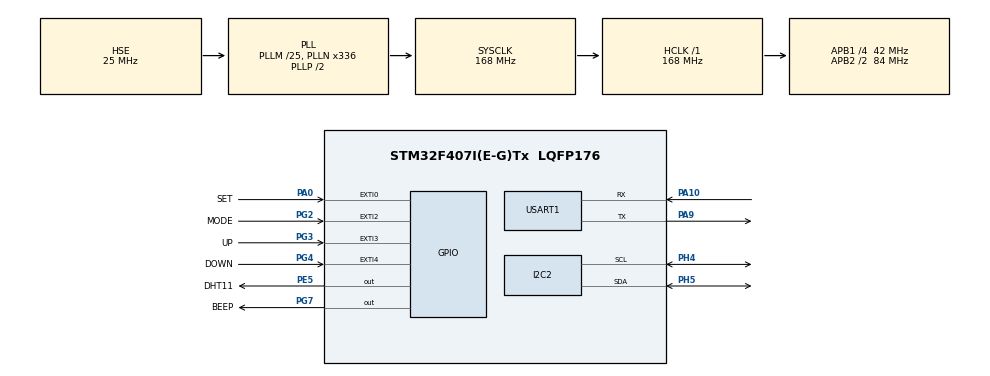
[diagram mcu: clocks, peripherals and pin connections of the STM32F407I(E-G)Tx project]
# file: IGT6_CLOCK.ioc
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I2C2.I2C_Mode=I2C_Standard
Mcu.Family=STM32F4
Mcu.Name=STM32F407I(E-G)Tx
Mcu.Package=LQFP176
NVIC.EXTI0_IRQn=true\:1\:0\:true\:false\:true\:true\:true\:true
NVIC.EXTI2_IRQn=true\:1\:0\:true\:false\:true\:true\:true\:true
NVIC.EXTI3_IRQn=true\:1\:0\:true\:false\:true\:true\:true\:true
NVIC.EXTI4_IRQn=true\:1\:0\:true\:false\:true\:true\:true\:true
NVIC.PriorityGroup=NVIC_PRIORITYGROUP_4
NVIC.RTC_Alarm_IRQn=true\:0\:0\:false\:false\:true\:true\:true\:true
NVIC.USART1_IRQn=true\:0\:0\:true\:false\:true\:true\:true\:true
PA0-WKUP.GPIO_Label=SET
PA0-WKUP.GPIO_ModeDefaultEXTI=GPIO_MODE_IT_RISING
PA0-WKUP.GPIO_PuPd=GPIO_PULLDOWN
PA0-WKUP.Signal=GPXTI0
PA10.Mode=Asynchronous
PA10.Signal=USART1_RX
PA13.Mode=Serial_Wire
PA13.Signal=SYS_JTMS-SWDIO
PA14.Mode=Serial_Wire
PA14.Signal=SYS_JTCK-SWCLK
PA9.Mode=Asynchronous
PA9.Signal=USART1_TX
PC14-OSC32_IN.Mode=LSE-External-Oscillator
PC14-OSC32_IN.Signal=RCC_OSC32_IN
PC15-OSC32_OUT.Mode=LSE-External-Oscillator
PC15-OSC32_OUT.Signal=RCC_OSC32_OUT
PE5.GPIO_Label=DHT11
PE5.Signal=GPIO_Output
PG2.GPIO_Label=MODE
PG2.GPIO_ModeDefaultEXTI=GPIO_MODE_IT_RISING
PG2.GPIO_PuPd=GPIO_PULLDOWN
PG2.Signal=GPXTI2
PG3.GPIO_Label=UP
PG3.GPIO_ModeDefaultEXTI=GPIO_MODE_IT_RISING
PG3.GPIO_PuPd=GPIO_PULLDOWN
PG3.Signal=GPXTI3
PG4.GPIO_Label=DOWN
PG4.GPIO_ModeDefaultEXTI=GPIO_MODE_IT_RISING
PG4.GPIO_PuPd=GPIO_PULLDOWN
PG4.Signal=GPXTI4
PG7.GPIO_Label=BEEP
PG7.PinState=GPIO_PIN_RESET
PG7.Signal=GPIO_Output
PH0-OSC_IN.Mode=HSE-External-Oscillator
PH0-OSC_IN.Signal=RCC_OSC_IN
PH1-OSC_OUT.Mode=HSE-External-Oscillator
PH1-OSC_OUT.Signal=RCC_OSC_OUT
PH4.Mode=I2C
PH4.Signal=I2C2_SCL
PH5.Mode=I2C
PH5.Signal=I2C2_SDA
ProjectManager.HeapSize=0x200
ProjectManager.StackSize=0x400
ProjectManager.TargetToolchain=MDK-ARM V5.32
RCC.48MHZClocksFreq_Value=84000000
RCC.AHBFreq_Value=168000000
RCC.APB1CLKDivider=RCC_HCLK_DIV4
RCC.APB1Freq_Value=42000000
RCC.APB1TimFreq_Value=84000000
RCC.APB2CLKDivider=RCC_HCLK_DIV2
RCC.APB2Freq_Value=84000000
RCC.APB2TimFreq_Value=168000000
RCC.CortexFreq_Value=168000000
RCC.HCLKFreq_Value=168000000
RCC.HSE_VALUE=25000000
RCC.HSI_VALUE=16000000
RCC.PLLM=25
RCC.PLLN=336
RCC.PLLSourceVirtual=RCC_PLLSOURCE_HSE
RCC.RCC_RTC_Clock_Source=RCC_RTCCLKSOURCE_LSE
RCC.RCC_RTC_Clock_SourceVirtual=RCC_RTCCLKSOURCE_LSE
RCC.SYSCLKFreq_VALUE=168000000
RCC.SYSCLKSource=RCC_SYSCLKSOURCE_PLLCLK
RCC.VCOOutputFreq_Value=336000000
RTC.Alarm=RTC_ALARM_A
RTC.AlarmMaskDateWeekDay=RTC_ALARMMASK_DATEWEEKDAY
TIM1.Prescaler=168-1
USART1.VirtualMode=VM_ASYNC
VP_RTC_VS_RTC_Activate.Mode=RTC_Enabled
VP_RTC_VS_RTC_Alarm_A_Intern.Mode=Alarm A
VP_RTC_VS_RTC_Calendar.Mode=RTC_Calendar
VP_TIM1_VS_ClockSourceINT.Mode=Internal
board=custom

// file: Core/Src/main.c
/* USER CODE BEGIN Header */
/**
  ******************************************************************************
  * @file           : main.c
  * @brief          : Main program body
  ******************************************************************************
  * @attention
  *
  * Copyright (c) 2024 STMicroelectronics.
  * All rights reserved.
  *
  * This software is licensed under terms that can be found in the LICENSE file
  * in the root directory of this software component.
  * If no LICENSE file comes with this software, it is provided AS-IS.
  *
  ******************************************************************************
  */
/* USER CODE END Header */
#include "main.h"
#include "i2c.h"
#include "rtc.h"
#include "tim.h"
#include "usart.h"
#include "gpio.h"

/* USER CODE BEGIN Includes */
#include "stdio.h"
#include "OLED.h"
/* USER CODE END Includes */

/* USER CODE BEGIN PTD */
RTC_TimeTypeDef Get_time;
RTC_DateTypeDef Get_date;
RTC_AlarmTypeDef Get_alarm;
/* USER CODE END PTD */

/* USER CODE BEGIN PD */
#define DHT11_HIGH     HAL_GPIO_WritePin(GPIOE, DHT11_Pin,	GPIO_PIN_SET) //输出高电平
#define DHT11_LOW      HAL_GPIO_WritePin(GPIOE, DHT11_Pin, GPIO_PIN_RESET)//输出低电平
#define DHT11_IO_IN      HAL_GPIO_ReadPin(GPIOE, DHT11_Pin)//读取IO口电平
/* USER CODE END PD */

/* USER CODE BEGIN PV */
uint8_t temp=0;
uint8_t humi=0;
/* USER CODE END PV */

void SystemClock_Config(void);
/* USER CODE BEGIN PFP */
void beep_start()
{
	HAL_GPIO_WritePin(GPIOG,GPIO_PIN_7,GPIO_PIN_SET);
}
void beep_stop()
{
	HAL_GPIO_WritePin(GPIOG,GPIO_PIN_7,GPIO_PIN_RESET);
}

void Calculate_week(int y,int m,int d)
{
	if(m==1||m==2)
	{
		m+=12;
		y--;
	}
	int week=(d+2*m+3*(m+1)/5+y+y/4-y/100+y/400)%7;
	switch(week)
	{
		case 0:
		{
			OLED_ShowString(0,4,(uint8_t*)"Monday   ",16);
			break;
		}
		case 1:
		{
			OLED_ShowString(0,4,(uint8_t*)"Tuesday  ",16);
			break;
		}
		case 2:
		{
			OLED_ShowString(0,4,(uint8_t*)"Wednesday",16);
			break;
		}
		case 3:
		{
			OLED_ShowString(0,4,(uint8_t*)"Thursday ",16);
			break;
		}
		case 4:
		{
			OLED_ShowString(0,4,(uint8_t*)"Friday   ",16);
			break;
		}
		case 5:
		{
			OLED_ShowString(0,4,(uint8_t*)"Saturday  ",16);
			break;
		}
		case 6:
		{
			OLED_ShowString(0,4,(uint8_t*)"Sunday   ",16);
			break;
		}
	}
}
void def_config()
{
	Get_alarm.AlarmTime.DayLightSaving = RTC_DAYLIGHTSAVING_NONE;
	Get_alarm.AlarmTime.StoreOperation = RTC_STOREOPERATION_RESET;
	Get_alarm.AlarmMask=RTC_ALARMMASK_DATEWEEKDAY;
	Get_alarm.AlarmSubSecondMask = RTC_ALARMSUBSECONDMASK_ALL;
	Get_alarm.Alarm = RTC_ALARM_A;
}
void Delay_us(int us)
{
	__HAL_TIM_SetCounter(&htim1,0);
	__HAL_TIM_ENABLE(&htim1);
	while(__HAL_TIM_GET_COUNTER(&htim1)<us);
	__HAL_TIM_DISABLE(&htim1);
}

void DHT11_OUT(void)
{
	GPIO_InitTypeDef  GPIO_InitStruct = {0};

	GPIO_InitStruct.Pin = GPIO_PIN_5;
	GPIO_InitStruct.Mode = GPIO_MODE_OUTPUT_PP;
	GPIO_InitStruct.Pull = GPIO_PULLUP;
	GPIO_InitStruct.Speed = GPIO_SPEED_FREQ_HIGH;
	HAL_GPIO_Init(GPIOE, &GPIO_InitStruct);
}

void DHT11_IN(void)
{
	GPIO_InitTypeDef  GPIO_InitStruct = {0};

	GPIO_InitStruct.Pin  = GPIO_PIN_5;
	GPIO_InitStruct.Mode = GPIO_MODE_INPUT;
	GPIO_InitStruct.Pull = GPIO_NOPULL;
	GPIO_InitStruct.Speed = GPIO_SPEED_FREQ_HIGH;
	HAL_GPIO_Init(GPIOE, &GPIO_InitStruct);
}
void DHT11_Strat(void)
{
	DHT11_OUT();   //设置为输出模式
	DHT11_LOW;     //主机拉低总线
	HAL_Delay(20); //延迟必须大于18ms ；
	DHT11_HIGH;    //主机拉高总线等待DHT11响应
	Delay_us(30);
}
uint8_t DHT11_Check(void)
{
	uint8_t retry = 0 ;
	DHT11_IN();
	//采用while循环的方式检测响应信号
	while(DHT11_IO_IN && retry <100) // DHT11会拉低 40us ~80us
	{
		retry++;
		Delay_us(1);//1us
	}
	if(retry>=100) //判断当DHT11延迟超过80us时return 1 ， 说明响应失败
	{return  1;}
	else retry =  0 ;

	while(!DHT11_IO_IN && retry<100)// // DHT11拉低之后会拉高 40us ~80us
	{
		retry++;
		Delay_us(1);//1us
	}

	if(retry>=100)
	{return 1;}
	return 0 ;
}
uint8_t DHT11_Read_Bit(void)
{
	uint8_t retry = 0 ;
	while(DHT11_IO_IN && retry <100)//同上采用while循环的方式去采集数据
	{
		retry++;
		Delay_us(1);
	}
	retry = 0 ;
	while(!DHT11_IO_IN && retry<100)
	{
		retry++;
		Delay_us(1);
	}

	Delay_us(40);              //结束信号，延时40us
	if(DHT11_IO_IN) return 1;  //结束信号后，总线会被拉高 则返回1表示读取成功
	else
	return 0 ;
}
uint8_t DHT11_Read_Byte(void)
{
	uint8_t i , dat ;
	dat = 0 ;
	for(i=0; i<8; i++)
	{
		dat <<= 1; //通过左移存储数据
		dat |= DHT11_Read_Bit();
	}
	return dat ;
}
uint8_t DHT11_Read_Data(uint8_t* temp , uint8_t* humi)
{
	uint8_t buf[5];        //储存五位数据
    uint8_t i;
	DHT11_Strat();         //起始信号
	if(DHT11_Check() == 0) //响应信号
    {
		for(i=0; i<5; i++)
		{
			buf[i] = DHT11_Read_Byte();
		}
		if(buf[0]+buf[1]+buf[2]+buf[3] == buf[4]) //校验数据
		{
		  *humi = buf[0]; // 湿度
			*temp = buf[2]; // 温度
		}
	}else return 1;

   return 0 ;
}
/* USER CODE END PFP */

/* USER CODE BEGIN 0 */
uint8_t year_judge(int year)
{
	if(year%100!=0)
	{
		if(year%4==0)
			return 1;
		else
			return 0;
	}
	else
	{
		if(year%400==0)
			return 1;
		else
			return 0;
	}
}
uint8_t set=0;//0:时钟界面 1：时钟设置界面 2：闹钟设置界面 3：日期设置界面
uint8_t mode=0;//0:设置小时（年） 1：设置分钟（月） 2：设置秒（日）
uint8_t tim_up=0;
int year;
int month;
int date;
int Hours=0;
int Minutes=0;
int Seconds=0;
int alarm_h;
int alarm_m;
int alarm_s;
void HAL_GPIO_EXTI_Callback(uint16_t GPIO_Pin)
{
	if(GPIO_Pin==GPIO_PIN_0)
	{
		if(HAL_GPIO_ReadPin(GPIOA,GPIO_PIN_0)==GPIO_PIN_SET)
		{
			HAL_NVIC_SetPriority(SysTick_IRQn,0,0);
			HAL_Delay(20);
			HAL_NVIC_SetPriority(SysTick_IRQn,15,0);
			if(HAL_GPIO_ReadPin(GPIOA,GPIO_PIN_0)==GPIO_PIN_SET)
			{
				if(tim_up==0)
				{
					set+=1;
					if(set>3)
						set=0;
				}
				if(tim_up==1)
				{
					tim_up=0;
					beep_stop();
				}
				while(HAL_GPIO_ReadPin(GPIOA,GPIO_PIN_0)==GPIO_PIN_SET);
			}
		}
	}

	if(GPIO_Pin==GPIO_PIN_2)
	{
		if(HAL_GPIO_ReadPin(GPIOG,GPIO_PIN_2)==GPIO_PIN_SET)
		{
			if(set!=0)
			{
				mode+=1;
				if(mode>2)
					mode=0;
				year=Get_date.Year;
				month=Get_date.Month;
				date=Get_date.Date;
				Hours=Get_time.Hours;
				Minutes=Get_time.Minutes;
				Seconds=Get_time.Seconds;
				alarm_h=Get_alarm.AlarmTime.Hours;
				alarm_m=Get_alarm.AlarmTime.Minutes;
				alarm_s=Get_alarm.AlarmTime.Seconds;
				while(HAL_GPIO_ReadPin(GPIOG,GPIO_PIN_2)==GPIO_PIN_SET);
			}
		}
	}
	if(GPIO_Pin==GPIO_PIN_3)
	{
		if(HAL_GPIO_ReadPin(GPIOG,GPIO_PIN_3)==GPIO_PIN_SET)
		{
			if(set==1)
			{
				if(mode==0)
				{
					Hours+=1;
					if(Hours>23)
						Hours=0;
				}
				if(mode==1)
				{
					Minutes+=1;
					if(Minutes>59)
						Minutes=0;
				}
				if(mode==2)
				{
					Seconds+=1;
					if(Seconds>59)
						Seconds=0;
				}
				Get_time.Hours=Hours;
				Get_time.Minutes=Minutes;
				Get_time.Seconds=Seconds;
				HAL_RTC_SetTime(&hrtc,&Get_time,FORMAT_BIN);
			}
			if(set==2)
			{
				if(mode==0)
				{
					alarm_h+=1;
					if(alarm_h>23)
						alarm_h=0;
				}
				if(mode==1)
				{
					alarm_m+=1;
					if(alarm_m>59)
						alarm_m=0;
				}
				if(mode==2)
				{
					alarm_s+=1;
					if(alarm_s>59)
						alarm_s=0;
				}
				Get_alarm.AlarmTime.Hours=alarm_h;
				Get_alarm.AlarmTime.Minutes=alarm_m;
				Get_alarm.AlarmTime.Seconds=alarm_s;
				def_config();
				HAL_RTC_SetAlarm_IT(&hrtc,&Get_alarm,FORMAT_BIN);
			}
			if(set==3)
			{
				if(mode==0)
				{
					year+=1;
				}
				if(mode==1)
				{
					month+=1;
					if(month>12)
						month=1;
				}
				if(mode==2)
				{
					date+=1;
					if(month==1||month==3||month==5||month==7||month==8||month==10||month==12)
					{
						if(date>31)
							date=1;
					}
					if(month==4||month==6||month==9||month==11)
					{
						if(date>30)
							date=1;
					}
					if(month==2)
					{
						if(year_judge(year))
						{
							if(date>29)
								date=1;
						}
						else
						{
							if(date>28)
								date=1;
						}
					}
				}
				Get_date.Year=year;
				Get_date.Month=month;
				Get_date.Date=date;
				HAL_RTC_SetDate(&hrtc,&Get_date,FORMAT_BIN);
			}
		}
	}
	if(GPIO_Pin==GPIO_PIN_4)
	{
		if(HAL_GPIO_ReadPin(GPIOG,GPIO_PIN_4)==GPIO_PIN_SET)
		{
			if(set==1)
			{
				if(mode==0)
				{
					Hours-=1;
					if(Hours<0)
						Hours=23;
				}
				if(mode==1)
				{
					Minutes-=1;
					if(Minutes<0)
						Minutes=59;
				}
				if(mode==2)
				{
					Seconds-=1;
					if(Seconds<0)
						Seconds=59;
				}
				Get_time.Hours=Hours;
				Get_time.Minutes=Minutes;
				Get_time.Seconds=Seconds;
				HAL_RTC_SetTime(&hrtc,&Get_time,FORMAT_BIN);
			}
			if(set==2)
			{
				if(mode==0)
				{
					alarm_h-=1;
					if(alarm_h<0)
						alarm_h=23;
				}
				if(mode==1)
				{
					alarm_m-=1;
					if(alarm_m<0)
						alarm_m=59;
				}
				if(mode==2)
				{
					alarm_s-=1;
					if(alarm_s<0)
						alarm_s=59;
				}
				Get_alarm.AlarmTime.Hours=alarm_h;
				Get_alarm.AlarmTime.Minutes=alarm_m;
				Get_alarm.AlarmTime.Seconds=alarm_s;
				def_config();
				HAL_RTC_SetAlarm_IT(&hrtc,&Get_alarm,FORMAT_BIN);
			}
			if(set==3)
			{
				if(mode==0)
				{
					year-=1;
					if(year<0)
						year=0;
				}
				if(mode==1)
				{
					month-=1;
					if(month<1)
						month=12;
				}
				if(mode==2)
				{
					date-=1;
					if(month==1||month==3||month==5||month==7||month==8||month==10||month==12)
					{
						if(date<1)
							date=31;
					}
					if(month==4||month==6||month==9||month==11)
					{
						if(date<1)
							date=30;
					}
					if(mode==2)
					{
						if(year_judge(year))
						{
							if(date<1)
								date=29;
						}
						else
						{
							if(date<1)
								date=28;
						}
					}
				}
				Get_date.Year=year;
				Get_date.Month=month;
				Get_date.Date=date;
				HAL_RTC_SetDate(&hrtc,&Get_date,FORMAT_BIN);
			}
		}
	}

}

uint8_t uart_cnt=0;
char rx_dat[2];
char rx_data[10];
void HAL_UART_RxCpltCallback(UART_HandleTypeDef *huart)
{
	if(huart==&huart1)
	{
		rx_data[uart_cnt]=rx_dat[0];
		uart_cnt++;
		if(HAL_UART_Receive_IT(&huart1,(uint8_t*)rx_dat,1)!=HAL_OK)
		{
			huart1.RxState=HAL_UART_STATE_READY;
			__HAL_UNLOCK(&huart1);
		}
		if(rx_data[0]=='A')
		{
			if(uart_cnt>9)
			{
				if(rx_data[9]=='B')
				{
					if(rx_data[1]-48==0)
					{
						Hours=((rx_data[2]-48)*10+(rx_data[3]-48)*1);
						Minutes=((rx_data[4]-48)*10+(rx_data[5]-48)*1);
						Seconds=((rx_data[6]-48)*10+(rx_data[7]-48)*1);
						if(Hours<=23&&Hours>=0)
							Get_time.Hours=Hours;
						if(Minutes<=59&&Minutes>=0)
							Get_time.Minutes=Minutes;
						if(Seconds<=59&&Seconds>=0)
							Get_time.Seconds=Seconds;
						HAL_RTC_SetTime(&hrtc,&Get_time,FORMAT_BIN);
					}
					if(rx_data[1]-48==1)
					{
						alarm_h=((rx_data[2]-48)*10+(rx_data[3]-48)*1);
						alarm_m=((rx_data[4]-48)*10+(rx_data[5]-48)*1);
						alarm_s=((rx_data[6]-48)*10+(rx_data[7]-48)*1);
						if(alarm_h<=23&&alarm_h>=0)
							Get_alarm.AlarmTime.Hours=alarm_h;
						if(alarm_m<=59&&alarm_m>=0)
							Get_alarm.AlarmTime.Minutes=alarm_m;
						if(alarm_s<=59&&alarm_s>=0)
							Get_alarm.AlarmTime.Seconds=alarm_s;
						def_config();
						HAL_RTC_SetAlarm_IT(&hrtc,&Get_alarm,FORMAT_BIN);
					}
					if(rx_data[8]-48==0)
						__HAL_RTC_ALARM_DISABLE_IT(&hrtc, RTC_IT_ALRA);
					if(rx_data[8]-48==1)
						__HAL_RTC_ALARM_ENABLE_IT(&hrtc, RTC_IT_ALRA);
					uart_cnt=0;
				}
				if(rx_data[9]=='C')
				{
					year=((rx_data[1]-48)*1000+(rx_data[2]-48)*100+(rx_data[3]-48)*10+(rx_data[4]-48)*1)-2024;
					month=((rx_data[5]-48)*10+(rx_data[6]-48)*1);
					date=((rx_data[7]-48)*10+(rx_data[8]-48)*1);
					if(year>=0)
						Get_date.Year=year;
					if(month>=1&&month<=12)
						Get_date.Month=month;
					if(date>=1)
					{
						if(month==1||month==3||month==5||month==7||month==8||month==10||month==12)
						{
							if(date<=31)
								Get_date.Date=date;
						}
						if(month==4||month==6||month==9||month==11)
						{
							if(date<=30)
								Get_date.Date=date;
						}
						if(month==2)
						{
							if(year_judge(year+2024))
							{
								if(date<=29)
									Get_date.Date=date;
							}
							else
							{
								if(date<=28)
									Get_date.Date=date;
							}
						}
					}
					HAL_RTC_SetDate(&hrtc,&Get_date,FORMAT_BIN);
				}
				uart_cnt=0;
			}
		}
		else
			uart_cnt=0;
		HAL_UART_Receive_IT(&huart1,(uint8_t*)rx_dat,1);
	}
}

void HAL_RTC_AlarmAEventCallback(RTC_HandleTypeDef *hrtc)
{
	tim_up=1;
}
/* USER CODE END 0 */

int main(void)
{

  /* MCU Configuration--------------------------------------------------------*/

  /* Reset of all peripherals, Initializes the Flash interface and the Systick. */
  HAL_Init();

  /* USER CODE BEGIN Init */
	uint8_t set_last=0;
	uint8_t tim_up_last=0;
  /* USER CODE END Init */

  /* Configure the system clock */
  SystemClock_Config();

  /* Initialize all configured peripherals */
  MX_GPIO_Init();
  MX_I2C2_Init();
  MX_RTC_Init();
  MX_TIM1_Init();
  MX_USART1_UART_Init();
  /* USER CODE BEGIN 2 */
	OLED_Init();
	OLED_Clear();
	HAL_UART_Receive_IT(&huart1,(uint8_t*)rx_dat,1);
	__HAL_RCC_PWR_CLK_ENABLE();
	HAL_PWR_EnableBkUpAccess();
	DHT11_Strat();
  /* USER CODE END 2 */

  /* Infinite loop */
  /* USER CODE BEGIN WHILE */
  while (1)
  {
		HAL_RTC_GetTime(&hrtc,&Get_time,FORMAT_BIN);
		HAL_RTC_GetDate(&hrtc,&Get_date,FORMAT_BIN);
		if(set_last!=set)
		{
			OLED_Clear();
			set_last=set;
		}
		if(tim_up_last!=tim_up)
		{
			OLED_Clear();
			tim_up_last=tim_up;
		}
		if(set==0&&tim_up==0)
		{
			DHT11_Read_Data(&temp,&humi);
			OLED_ShowNum(0,0,Get_time.Hours,2,16);
			OLED_ShowString(16,0,(uint8_t*)":",16);
			OLED_ShowNum(24,0,Get_time.Minutes,2,16);
			OLED_ShowString(40,0,(uint8_t*)":",16);
			OLED_ShowNum(48,0,Get_time.Seconds,2,16);

			OLED_ShowNum(0,2,(Get_date.Year+2024),4,16);
			OLED_ShowString(32,2,(uint8_t*)"/",16);
			OLED_ShowNum(40,2,Get_date.Month,2,16);
			OLED_ShowString(56,2,(uint8_t*)"/",16);
			OLED_ShowNum(64,2,Get_date.Date,2,16);

			Calculate_week((Get_date.Year+2024),Get_date.Month,Get_date.Date);

			OLED_ShowString(0,6,(uint8_t*)"temp:",16);
			OLED_ShowNum(40,6,temp,2,16);
			OLED_ShowString(56,6,(uint8_t*)"humi:",16);
			OLED_ShowNum(96,6,humi,2,16);
		}
		if(set==1)
		{
			OLED_ShowString(0,0,(uint8_t*)"Time set",16);
			OLED_ShowNum(0,2,Hours,2,16);
			OLED_ShowString(16,2,(uint8_t*)":",16);
			OLED_ShowNum(24,2,Minutes,2,16);
			OLED_ShowString(40,2,(uint8_t*)":",16);
			OLED_ShowNum(48,2,Seconds,2,16);
		}
		if(set==2)
		{
			OLED_ShowString(0,0,(uint8_t*)"Alarm set",16);
			OLED_ShowNum(0,2,alarm_h,2,16);
			OLED_ShowString(16,2,(uint8_t*)":",16);
			OLED_ShowNum(24,2,alarm_m,2,16);
			OLED_ShowString(40,2,(uint8_t*)":",16);
			OLED_ShowNum(48,2,alarm_s,2,16);
		}
		if(set==3)
		{
			OLED_ShowString(0,0,(uint8_t*)"Date set",16);
			OLED_ShowNum(0,2,(year+2024),4,16);
			OLED_ShowString(32,2,(uint8_t*)"/",16);
			OLED_ShowNum(40,2,month,2,16);
			OLED_ShowString(56,2,(uint8_t*)"/",16);
			OLED_ShowNum(64,2,date,2,16);
		}
		if(set==1||set==2)
		{
			if(mode==0)
				OLED_ShowString(0,4,(uint8_t*)"h set",16);
			if(mode==1)
				OLED_ShowString(0,4,(uint8_t*)"m set",16);
			if(mode==2)
				OLED_ShowString(0,4,(uint8_t*)"s set",16);
		}
		if(set==3)
		{
			if(mode==0)
				OLED_ShowString(0,4,(uint8_t*)"y set",16);
			if(mode==1)
				OLED_ShowString(0,4,(uint8_t*)"m set",16);
			if(mode==2)
				OLED_ShowString(0,4,(uint8_t*)"d set",16);
		}
		if(set==0&&tim_up==1)
		{
			beep_start();
			HAL_Delay(200);
			beep_stop();
			HAL_Delay(200);
			OLED_ShowString(0,2,(uint8_t*)"Alarm Ringing...",16);
		}
    /* USER CODE END WHILE */

  }
}

void SystemClock_Config(void)
{
  RCC_OscInitTypeDef RCC_OscInitStruct = {0};
  RCC_ClkInitTypeDef RCC_ClkInitStruct = {0};

  /** Configure the main internal regulator output voltage
  */
  __HAL_RCC_PWR_CLK_ENABLE();
  __HAL_PWR_VOLTAGESCALING_CONFIG(PWR_REGULATOR_VOLTAGE_SCALE1);

  /** Initializes the RCC Oscillators according to the specified parameters
  * in the RCC_OscInitTypeDef structure.
  */
  RCC_OscInitStruct.OscillatorType = RCC_OSCILLATORTYPE_HSE|RCC_OSCILLATORTYPE_LSE;
  RCC_OscInitStruct.HSEState = RCC_HSE_ON;
  RCC_OscInitStruct.LSEState = RCC_LSE_ON;
  RCC_OscInitStruct.PLL.PLLState = RCC_PLL_ON;
  RCC_OscInitStruct.PLL.PLLSource = RCC_PLLSOURCE_HSE;
  RCC_OscInitStruct.PLL.PLLM = 25;
  RCC_OscInitStruct.PLL.PLLN = 336;
  RCC_OscInitStruct.PLL.PLLP = RCC_PLLP_DIV2;
  RCC_OscInitStruct.PLL.PLLQ = 4;
  if (HAL_RCC_OscConfig(&RCC_OscInitStruct) != HAL_OK)
  {
    Error_Handler();
  }

  /** Initializes the CPU, AHB and APB buses clocks
  */
  RCC_ClkInitStruct.ClockType = RCC_CLOCKTYPE_HCLK|RCC_CLOCKTYPE_SYSCLK
                              |RCC_CLOCKTYPE_PCLK1|RCC_CLOCKTYPE_PCLK2;
  RCC_ClkInitStruct.SYSCLKSource = RCC_SYSCLKSOURCE_PLLCLK;
  RCC_ClkInitStruct.AHBCLKDivider = RCC_SYSCLK_DIV1;
  RCC_ClkInitStruct.APB1CLKDivider = RCC_HCLK_DIV4;
  RCC_ClkInitStruct.APB2CLKDivider = RCC_HCLK_DIV2;

  if (HAL_RCC_ClockConfig(&RCC_ClkInitStruct, FLASH_LATENCY_5) != HAL_OK)
  {
    Error_Handler();
  }
}

void Error_Handler(void)
{
  __disable_irq();
  while (1)
  {
  }
}
